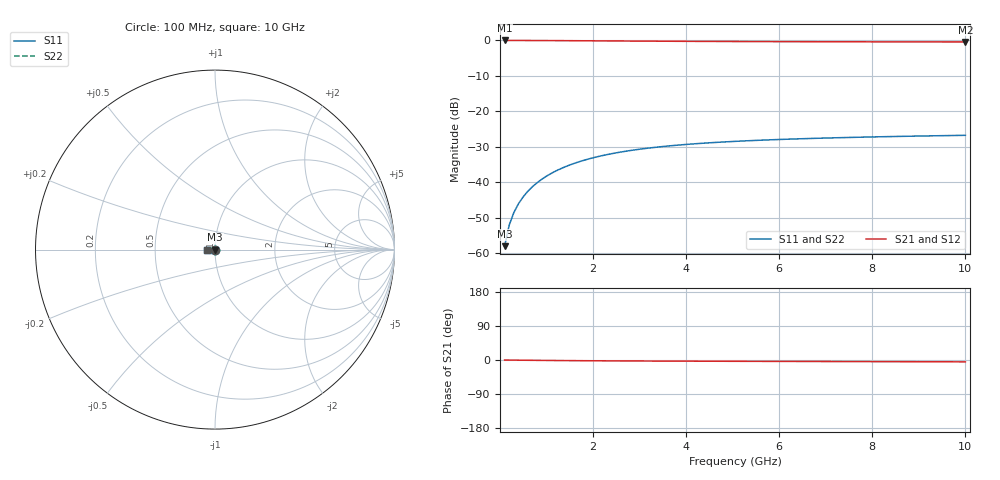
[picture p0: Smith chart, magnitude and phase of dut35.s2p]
! Touchstone file exported from HFSS 2024.1.0
!  File:  C:/UserFiles/LocalFiles/RDL_TSV_Batchsim/temp_TSV1_35_1779370536.aedt
!  Generated:  09:43:26 PM May 21, 2026
!  Design:  TSV1
!  Project:  temp_TSV1_35_1779370536
!  Setup:  Setup1
!  Solution:  Sweep
! Variables:
!  dtsv = 11.06um
!  hbump = 3um
!  htsv = 75.31um
!  lrdl = 252.1521522um
!  p = 40
!  p1 = 49.75um
!  t = 500um
!  trdl = 3um
!  wrdl = 24.89489489um
# GHz S MA R 50.000000
! Terminal data exported
! Port[1] = TSV22_T1
! Port[2] = TSV22_T2
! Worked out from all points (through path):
!   100 points, 100 MHz to 10 GHz, reference 50 ohm
!   highest |S21| = 0.00 dB at 100 MHz (marker M1); lowest = -0.4 dB at 10 GHz (marker M2)
!   lowest |S11| = -57.9 dB at 100 MHz (marker M3), VSWR 1.00, Z = 50 - j0.127 ohm
!   |S11| at or under -10 dB: start of sweep to end of sweep
!   |S22| runs from -57.9 to -26.7 dB; largest |S21 - S12| = 5.1e-15
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0.1  0.001267 -86.6  0.9998 -0.1  0.9998 -0.1  0.001267 -86.6
! Gamma 0 0 0 0
! Port Impedance 50 0 50 0
0.2  0.002527 -90.8  0.9997 -0.2  0.9997 -0.2  0.002527 -90.8
0.3  0.003788 -93.3  0.9995 -0.4  0.9995 -0.4  0.003788 -93.3
0.4  0.005044 -95.4  0.9992 -0.5  0.9992 -0.5  0.005044 -95.4
0.5  0.00629 -97.4  0.9989 -0.6  0.9989 -0.6  0.00629 -97.4
0.6  0.007524 -99.3  0.9984 -0.7  0.9984 -0.7  0.007524 -99.3
0.7  0.008741 -101.2  0.9979 -0.8  0.9979 -0.8  0.008741 -101.2
0.8  0.009939 -103.0  0.9974 -0.9  0.9974 -0.9  0.009939 -103.0
0.9  0.01112 -104.8  0.9968 -1.0  0.9968 -1.0  0.01112 -104.8
1.1  0.0134 -108.2  0.9955 -1.2  0.9955 -1.2  0.0134 -108.2
1.4  0.01662 -113.1  0.9931 -1.5  0.9931 -1.5  0.01662 -113.1
1.6  0.01862 -116.2  0.9915 -1.7  0.9915 -1.7  0.01862 -116.2
1.8  0.0205 -119.1  0.9897 -1.9  0.9897 -1.9  0.0205 -119.1
2.1  0.02309 -123.3  0.987 -2.1  0.987 -2.1  0.02309 -123.3
2.5  0.02615 -128.5  0.9835 -2.4  0.9835 -2.4  0.02615 -128.5
2.9  0.02879 -133.2  0.9801 -2.6  0.9801 -2.6  0.02879 -133.2
3.4  0.03158 -138.4  0.9762 -2.8  0.9762 -2.8  0.03158 -138.4
4.2  0.0351 -145.6  0.9708 -3.1  0.9708 -3.1  0.0351 -145.6
5.1  0.03806 -152.4  0.9659 -3.4  0.9659 -3.4  0.03806 -152.4
6.7  0.0417 -162.0  0.9597 -3.9  0.9597 -3.9  0.0417 -162.0
8.4  0.04431 -170.1  0.9554 -4.4  0.9554 -4.4  0.04431 -170.1
10  0.04613 -176.4  0.9526 -4.9  0.9526 -4.9  0.04613 -176.4
